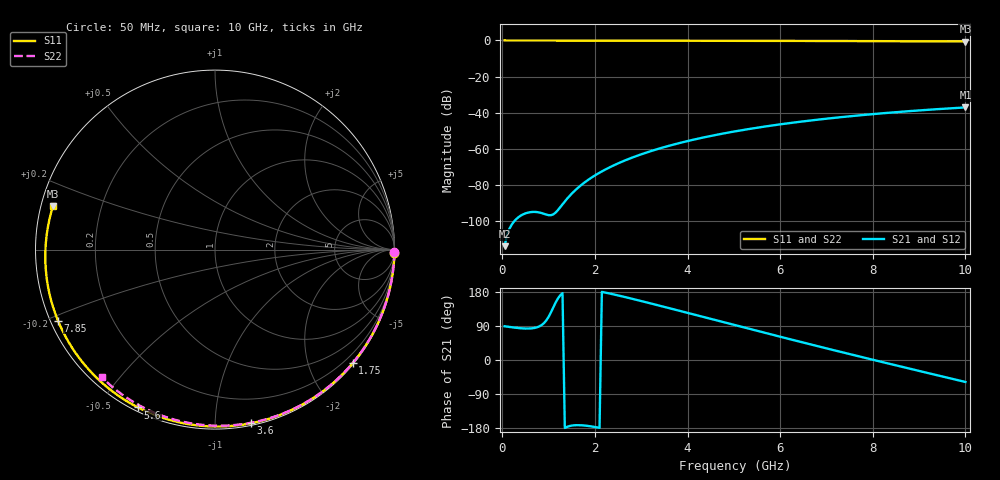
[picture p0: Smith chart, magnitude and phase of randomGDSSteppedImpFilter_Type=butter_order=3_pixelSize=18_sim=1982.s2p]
! freq	dB(S11)	phase(S11)	dB(S12)	phase(S12)
!  dB(S21)	phase(S21)	dB(S22)	phase(S22)
!S-par simulation data
#  GHz  S  DB  R 50
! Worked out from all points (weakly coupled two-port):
!   200 points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, 50 MHz to 10 GHz, reference 50 ohm
!   highest |S21| = -37.01 dB at 10 GHz (marker M1); lowest = -113.6 dB at 50 MHz (marker M2)
!   lowest |S11| = -0.6 dB at 10 GHz (marker M3), VSWR 29.51, Z = 1.72 + j6.59 ohm
!   |S11| at or under -10 dB: nowhere
!   |S22| runs from -0.4 to 0.0 dB; largest |S21 - S12| = 0
!   S11 on the Smith chart (normalised r, x): 50 MHz: 0, -99; 1.75 GHz: 0.03, -2.79; 3.6 GHz: 0.02, -1.23; 5.6 GHz: 0.02, -0.62; 7.85 GHz: 0.02, -0.22; 10 GHz: 0.03, +0.13
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0.05  -0.00 -1.2  -113.64 89.1  -113.64 89.1  -0.00 -0.8
0.45  -0.01 -10.3  -96.05 83.3  -96.05 83.3  -0.01 -6.8
0.85  -0.02 -19.4  -95.37 92.3  -95.37 92.3  -0.02 -12.9
1.25  -0.04 -28.4  -92.16 170.4  -92.16 170.4  -0.02 -18.9
1.7  -0.05 -38.4  -79.97 -172.2  -79.97 -172.2  -0.03 -25.5
1.75  -0.05 -39.5  -78.97 -172.7  -78.97 -172.7  -0.03 -26.3
2.05  -0.06 -46.0  -73.80 -177.9  -73.80 -177.9  -0.04 -30.7
2.25  -0.06 -50.3  -70.97 177.3  -70.97 177.3  -0.04 -33.6
2.45  -0.07 -54.6  -68.49 171.9  -68.49 171.9  -0.05 -36.5
2.9  -0.08 -64.0  -63.81 158.7  -63.81 158.7  -0.06 -43.0
3.4  -0.10 -74.2  -59.63 143.2  -59.63 143.2  -0.07 -50.0
3.6  -0.10 -78.2  -58.18 137.0  -58.18 137.0  -0.07 -52.8
4.3  -0.13 -91.9  -53.84 114.8  -53.84 114.8  -0.09 -62.4
5.05  -0.16 -106.0  -50.11 91.1  -50.11 91.1  -0.11 -72.4
5.6  -0.19 -116.0  -47.82 73.9  -47.82 73.9  -0.13 -79.5
6.15  -0.22 -125.8  -45.83 56.8  -45.83 56.8  -0.15 -86.4
6.7  -0.26 -135.5  -44.08 39.9  -44.08 39.9  -0.18 -93.2
7.3  -0.30 -146.0  -42.40 21.6  -42.40 21.6  -0.21 -100.5
7.85  -0.35 -155.7  -41.04 5.1  -41.04 5.1  -0.25 -107.0
8.35  -0.40 -164.5  -39.93 -9.7  -39.93 -9.7  -0.29 -112.8
9.2  -0.49 -179.9  -38.29 -34.7  -38.29 -34.7  -0.36 -122.6
10  -0.59 165.0  -37.01 -58.0  -37.01 -58.0  -0.44 -131.6
